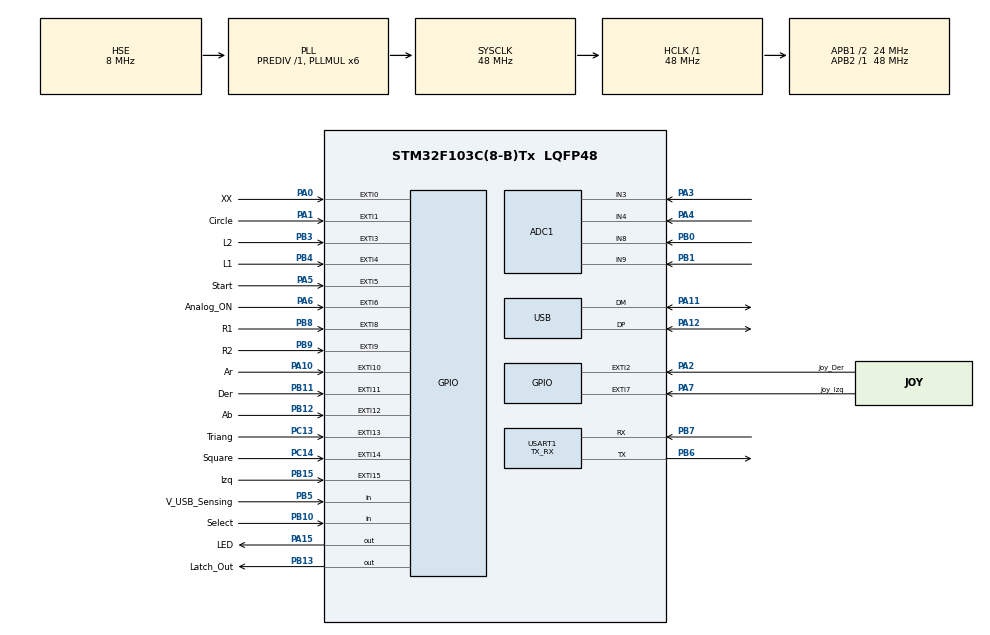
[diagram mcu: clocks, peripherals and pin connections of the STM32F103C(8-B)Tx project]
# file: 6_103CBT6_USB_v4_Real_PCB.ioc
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ADC1.Channel-0\#ChannelRegularConversion=ADC_CHANNEL_3
ADC1.Channel-1\#ChannelRegularConversion=ADC_CHANNEL_4
ADC1.Channel-2\#ChannelRegularConversion=ADC_CHANNEL_8
ADC1.Channel-3\#ChannelRegularConversion=ADC_CHANNEL_9
ADC1.ExternalTrigConv=ADC_EXTERNALTRIGCONV_T3_TRGO
ADC1.NbrOfConversion=4
ADC1.NbrOfConversionFlag=1
ADC1.Rank-0\#ChannelRegularConversion=1
ADC1.Rank-1\#ChannelRegularConversion=2
ADC1.Rank-2\#ChannelRegularConversion=3
ADC1.Rank-3\#ChannelRegularConversion=4
ADC1.SamplingTime-0\#ChannelRegularConversion=ADC_SAMPLETIME_7CYCLES_5
ADC1.SamplingTime-1\#ChannelRegularConversion=ADC_SAMPLETIME_7CYCLES_5
ADC1.SamplingTime-2\#ChannelRegularConversion=ADC_SAMPLETIME_7CYCLES_5
ADC1.SamplingTime-3\#ChannelRegularConversion=ADC_SAMPLETIME_7CYCLES_5
ADC1.master=1
Dma.ADC1.0.Direction=DMA_PERIPH_TO_MEMORY
Dma.ADC1.0.Instance=DMA1_Channel1
Dma.ADC1.0.MemDataAlignment=DMA_MDATAALIGN_HALFWORD
Dma.ADC1.0.MemInc=DMA_MINC_ENABLE
Dma.ADC1.0.Mode=DMA_CIRCULAR
Dma.ADC1.0.PeriphDataAlignment=DMA_PDATAALIGN_HALFWORD
Dma.ADC1.0.PeriphInc=DMA_PINC_DISABLE
Dma.ADC1.0.Priority=DMA_PRIORITY_LOW
Dma.Request0=ADC1
Dma.Request1=USART1_RX
Dma.Request2=USART1_TX
Dma.USART1_RX.1.Direction=DMA_PERIPH_TO_MEMORY
Dma.USART1_RX.1.Instance=DMA1_Channel5
Dma.USART1_RX.1.MemDataAlignment=DMA_MDATAALIGN_BYTE
Dma.USART1_RX.1.MemInc=DMA_MINC_ENABLE
Dma.USART1_RX.1.Mode=DMA_CIRCULAR
Dma.USART1_RX.1.PeriphDataAlignment=DMA_PDATAALIGN_BYTE
Dma.USART1_RX.1.PeriphInc=DMA_PINC_DISABLE
Dma.USART1_RX.1.Priority=DMA_PRIORITY_LOW
Dma.USART1_TX.2.Direction=DMA_MEMORY_TO_PERIPH
Dma.USART1_TX.2.Instance=DMA1_Channel4
Dma.USART1_TX.2.MemDataAlignment=DMA_MDATAALIGN_BYTE
Dma.USART1_TX.2.MemInc=DMA_MINC_ENABLE
Dma.USART1_TX.2.Mode=DMA_NORMAL
Dma.USART1_TX.2.PeriphDataAlignment=DMA_PDATAALIGN_BYTE
Dma.USART1_TX.2.PeriphInc=DMA_PINC_DISABLE
Dma.USART1_TX.2.Priority=DMA_PRIORITY_LOW
Mcu.Family=STM32F1
Mcu.Name=STM32F103C(8-B)Tx
Mcu.Package=LQFP48
NVIC.ADC1_2_IRQn=true\:0\:0\:false\:false\:true\:true\:true\:true
NVIC.DMA1_Channel1_IRQn=true\:0\:0\:false\:false\:true\:false\:true\:true
NVIC.DMA1_Channel4_IRQn=true\:0\:0\:false\:false\:true\:false\:true\:true
NVIC.DMA1_Channel5_IRQn=true\:0\:0\:false\:false\:true\:false\:true\:true
NVIC.EXTI0_IRQn=true\:0\:0\:false\:false\:true\:true\:true\:true
NVIC.EXTI15_10_IRQn=true\:0\:0\:false\:false\:true\:true\:true\:true
NVIC.EXTI1_IRQn=true\:0\:0\:false\:false\:true\:true\:true\:true
NVIC.EXTI2_IRQn=true\:0\:0\:false\:false\:true\:true\:true\:true
NVIC.EXTI3_IRQn=true\:0\:0\:false\:false\:true\:true\:true\:true
NVIC.EXTI4_IRQn=true\:0\:0\:false\:false\:true\:true\:true\:true
NVIC.EXTI9_5_IRQn=true\:0\:0\:false\:false\:true\:true\:true\:true
NVIC.PriorityGroup=NVIC_PRIORITYGROUP_4
NVIC.TIM1_UP_IRQn=true\:0\:0\:false\:false\:true\:true\:true\:true
NVIC.TIM2_IRQn=true\:0\:0\:false\:false\:true\:true\:true\:true
NVIC.TIM4_IRQn=true\:0\:0\:false\:false\:true\:true\:true\:true
NVIC.USB_LP_CAN1_RX0_IRQn=true\:0\:0\:false\:false\:true\:false\:true\:true
PA0-WKUP.GPIO_Label=XX
PA0-WKUP.GPIO_ModeDefaultEXTI=GPIO_MODE_IT_RISING_FALLING
PA0-WKUP.GPIO_PuPd=GPIO_PULLUP
PA0-WKUP.Signal=GPXTI0
PA1.GPIO_Label=Circle
PA1.GPIO_ModeDefaultEXTI=GPIO_MODE_IT_RISING_FALLING
PA1.GPIO_PuPd=GPIO_PULLUP
PA1.Signal=GPXTI1
PA10.GPIO_Label=Ar
PA10.GPIO_ModeDefaultEXTI=GPIO_MODE_IT_RISING_FALLING
PA10.GPIO_PuPd=GPIO_PULLUP
PA10.Signal=GPXTI10
PA11.Mode=Device
PA11.Signal=USB_DM
PA12.Mode=Device
PA12.Signal=USB_DP
PA15.GPIO_Label=LED
PA15.Signal=GPIO_Output
PA2.GPIO_Label=Joy_Der
PA2.GPIO_ModeDefaultEXTI=GPIO_MODE_IT_RISING_FALLING
PA2.GPIO_PuPd=GPIO_PULLUP
PA2.Signal=GPXTI2
PA3.Signal=ADCx_IN3
PA4.Signal=ADCx_IN4
PA5.GPIO_Label=Start
PA5.GPIO_ModeDefaultEXTI=GPIO_MODE_IT_RISING_FALLING
PA5.GPIO_PuPd=GPIO_PULLUP
PA5.Signal=GPXTI5
PA6.GPIO_Label=Analog_ON
PA6.GPIO_ModeDefaultEXTI=GPIO_MODE_IT_RISING_FALLING
PA6.GPIO_PuPd=GPIO_PULLUP
PA6.Signal=GPXTI6
PA7.GPIO_Label=Joy_Izq
PA7.GPIO_ModeDefaultEXTI=GPIO_MODE_IT_RISING_FALLING
PA7.GPIO_PuPd=GPIO_PULLUP
PA7.Signal=GPXTI7
PB0.Signal=ADCx_IN8
PB1.Signal=ADCx_IN9
PB10.GPIO_Label=Select
PB10.GPIO_PuPd=GPIO_PULLUP
PB10.Signal=GPIO_Input
PB11.GPIO_Label=Der
PB11.GPIO_ModeDefaultEXTI=GPIO_MODE_IT_RISING_FALLING
PB11.GPIO_PuPd=GPIO_PULLUP
PB11.Signal=GPXTI11
PB12.GPIO_Label=Ab
PB12.GPIO_ModeDefaultEXTI=GPIO_MODE_IT_RISING_FALLING
PB12.GPIO_PuPd=GPIO_PULLUP
PB12.Signal=GPXTI12
PB13.GPIO_Label=Latch_Out
PB13.Signal=GPIO_Output
PB15.GPIO_Label=Izq
PB15.GPIO_ModeDefaultEXTI=GPIO_MODE_IT_RISING_FALLING
PB15.GPIO_PuPd=GPIO_PULLUP
PB15.Signal=GPXTI15
PB3.GPIO_Label=L2
PB3.GPIO_ModeDefaultEXTI=GPIO_MODE_IT_RISING_FALLING
PB3.GPIO_PuPd=GPIO_PULLUP
PB3.Signal=GPXTI3
PB4.GPIO_Label=L1
PB4.GPIO_ModeDefaultEXTI=GPIO_MODE_IT_RISING_FALLING
PB4.GPIO_PuPd=GPIO_PULLUP
PB4.Signal=GPXTI4
PB5.GPIO_Label=V_USB_Sensing
PB5.GPIO_PuPd=GPIO_PULLUP
PB5.Signal=GPIO_Input
PB6.Mode=Asynchronous
PB6.Signal=USART1_TX
PB7.Mode=Asynchronous
PB7.Signal=USART1_RX
PB8.GPIO_Label=R1
PB8.GPIO_ModeDefaultEXTI=GPIO_MODE_IT_RISING_FALLING
PB8.GPIO_PuPd=GPIO_PULLUP
PB8.Signal=GPXTI8
PB9.GPIO_Label=R2
PB9.GPIO_ModeDefaultEXTI=GPIO_MODE_IT_RISING_FALLING
PB9.GPIO_PuPd=GPIO_PULLUP
PB9.Signal=GPXTI9
PC13-TAMPER-RTC.GPIO_Label=Triang
PC13-TAMPER-RTC.GPIO_ModeDefaultEXTI=GPIO_MODE_IT_RISING_FALLING
PC13-TAMPER-RTC.GPIO_PuPd=GPIO_PULLUP
PC13-TAMPER-RTC.Signal=GPXTI13
PC14-OSC32_IN.GPIO_Label=Square
PC14-OSC32_IN.GPIO_ModeDefaultEXTI=GPIO_MODE_IT_RISING_FALLING
PC14-OSC32_IN.GPIO_PuPd=GPIO_PULLUP
PC14-OSC32_IN.Signal=GPXTI14
PD0-OSC_IN.Mode=HSE-External-Oscillator
PD0-OSC_IN.Signal=RCC_OSC_IN
PD1-OSC_OUT.Mode=HSE-External-Oscillator
PD1-OSC_OUT.Signal=RCC_OSC_OUT
ProjectManager.HeapSize=0x200
ProjectManager.StackSize=0x400
ProjectManager.TargetToolchain=STM32CubeIDE
RCC.ADCPresc=RCC_ADCPCLK2_DIV4
RCC.AHBFreq_Value=48000000
RCC.APB1CLKDivider=RCC_HCLK_DIV2
RCC.APB1Freq_Value=24000000
RCC.APB1TimFreq_Value=48000000
RCC.APB2Freq_Value=48000000
RCC.APB2TimFreq_Value=48000000
RCC.HCLKFreq_Value=48000000
RCC.PLLMUL=RCC_PLL_MUL6
RCC.SYSCLKFreq_VALUE=48000000
RCC.SYSCLKSource=RCC_SYSCLKSOURCE_PLLCLK
RCC.USBFreq_Value=48000000
SH.ADCx_IN3.0=ADC1_IN3,IN3
SH.ADCx_IN4.0=ADC1_IN4,IN4
SH.ADCx_IN8.0=ADC1_IN8,IN8
SH.ADCx_IN9.0=ADC1_IN9,IN9
TIM1.Period=1000
TIM1.Prescaler=48-1
TIM2.Period=100
TIM2.Prescaler=4800
TIM3.Period=50
TIM3.Prescaler=4800-1
TIM3.TIM_MasterOutputTrigger=TIM_TRGO_UPDATE
TIM4.Period=65
TIM4.Prescaler=48000-1
USART1.Mode=MODE_TX_RX
USART1.VirtualMode=VM_ASYNC
USB_DEVICE.CLASS_NAME_FS=HID
USB_DEVICE.MANUFACTURER_STRING=JIB Industries
USB_DEVICE.PRODUCT_STRING_HID_FS=JIB Real Joystick
USB_DEVICE.VirtualMode=Hid
USB_DEVICE.VirtualModeFS=Hid_FS
VP_SYS_VS_ND.Mode=No_Debug
VP_TIM1_VS_ClockSourceINT.Mode=Internal
VP_TIM2_VS_ClockSourceINT.Mode=Internal
VP_TIM3_VS_ClockSourceINT.Mode=Internal
VP_TIM4_VS_ClockSourceINT.Mode=Internal
VP_USB_DEVICE_VS_USB_DEVICE_HID_FS.Mode=HID_FS
board=custom

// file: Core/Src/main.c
/* USER CODE BEGIN Header */
/**
  ******************************************************************************
  * @file           : main.c
  * @brief          : Main program body
  ******************************************************************************
  * @attention
  *
  * Copyright (c) 2026 STMicroelectronics.
  * All rights reserved.
  *
  * This software is licensed under terms that can be found in the LICENSE file
  * in the root directory of this software component.
  * If no LICENSE file comes with this software, it is provided AS-IS.
  *
  ******************************************************************************
  */
/* USER CODE END Header */
#include "main.h"
#include "usb_device.h"

/* USER CODE BEGIN Includes */

// #include <stdio.h>
#include <string.h>
#include "usbd_hid.h"

/* USER CODE END Includes */

/* USER CODE BEGIN PTD */

typedef union {
    struct __attribute__((packed)) {
        uint8_t square     :1;
        uint8_t x          :1;
        uint8_t o          :1;
        uint8_t triangle   :1;
        uint8_t L1         :1;
        uint8_t R1         :1;
        uint8_t L2         :1;
        uint8_t R2         :1;

        uint8_t select     :1;
        uint8_t start      :1;
        uint8_t L3         :1;
        uint8_t R3         :1;
        uint8_t home       :1; // este lo usaré de Analog_ON
        uint8_t            :3;

        uint8_t hat_switch :4;
        uint8_t            :4;

        uint16_t X;
        uint16_t Y;
        uint16_t Z;
        uint16_t Rz;
    };
    uint8_t val[11];
} Joystick_Report;

/* USER CODE END PTD */

/* USER CODE BEGIN PD */

#define ADC_NUM_CHANNELS 4

#define HAT_SWITCH_AR       0x0
#define HAT_SWITCH_AR_DER	0x1
#define HAT_SWITCH_DER      0x2
#define HAT_SWITCH_AB_DER 	0x3
#define HAT_SWITCH_AB       0x4
#define HAT_SWITCH_AB_IZQ 	0x5
#define HAT_SWITCH_IZQ 		0x6
#define HAT_SWITCH_AR_IZQ 	0x7
#define HAT_SWITCH_NULL     0x8

#define DEBUG_1 0

// #define CANT_BOTONES 11 // Medidos en la STM
#define CANT_BOTONES 18 // Medidos en la STM
#define CANT_BOTONES_TOTALES 18
#define DEBOUNCE_TIME_MS 10

#define BUFFER_SIZE_RX 20 // > al necesario por las dudas
#define REPORT_BUFFER_SIZE 11 // tamaño del Report struct
// #define RX_SIZE 8 // Recibo 6 botones (uso 1 byte por bit por facilidad) + el ID
#define RX_SIZE 3 // Recibo 7 botones (en 1 byte) + el ID
#define TX_SIZE 13 // envio el struct + ID

/* USER CODE END PD */

ADC_HandleTypeDef hadc1;
DMA_HandleTypeDef hdma_adc1;

TIM_HandleTypeDef htim1;
TIM_HandleTypeDef htim2;
TIM_HandleTypeDef htim3;
TIM_HandleTypeDef htim4;

UART_HandleTypeDef huart1;
DMA_HandleTypeDef hdma_usart1_rx;
DMA_HandleTypeDef hdma_usart1_tx;

/* USER CODE BEGIN PV */

extern USBD_HandleTypeDef hUsbDeviceFS;

volatile uint16_t ADC_Buffer[ADC_NUM_CHANNELS] = {0};
// volatile uint32_t Flag_ADC = 0;
volatile uint32_t Flag_TIM1 = 0;
volatile uint32_t Flag_TIM2 = 0;
volatile uint32_t Flag_TIM4 = 0;
volatile uint32_t Flag_Analog_State = 0;
// volatile uint32_t Flag_Rx = 0;
volatile uint32_t Flag_ESP_Buttons = 0;
volatile uint32_t Flag_ESP_Sent_Report = 0;

Joystick_Report Joystick_Report_Struct;

uint32_t dt, t1 = 0, dt2, t2 = 0;

// los inicializo en la main()
volatile uint32_t button_last_time[CANT_BOTONES_TOTALES];
volatile uint8_t button_state[CANT_BOTONES_TOTALES];
volatile uint8_t button_debounced[CANT_BOTONES_TOTALES];

uint32_t USB_State;

// Pines de botones (ajusta según tu configuración)
const uint16_t BUTTON_PINS[CANT_BOTONES] = {
	// Action PAD
    Triang_Pin,
    Square_Pin,
    XX_Pin,
    Circle_Pin,

	// D-PAD
	Izq_Pin,
	Ar_Pin,
	Ab_Pin,
	Der_Pin,

	// Analogs SW
	Joy_Izq_Pin,
	Joy_Der_Pin,

	// Medium PAD
	V_USB_Sensing_Pin,
	Analog_ON_Pin, // Analog_ON_Pin

	// Triggers
    L1_Pin,
    R1_Pin,
    L2_Pin,
    R2_Pin,
    // L3_Pin,
    // R3_Pin,

	// Rest of Medium PAD
	Select_Pin,
	Start_Pin,

};
// Analog L1 RI1 L2 R2 Select Start

GPIO_TypeDef* BUTTON_PORTS[CANT_BOTONES] = {
	// Action PAD
    Triang_GPIO_Port,
    Square_GPIO_Port,
    XX_GPIO_Port,
    Circle_GPIO_Port,
	// D-PAD
	Izq_GPIO_Port, 	// 4
	Ar_GPIO_Port,	// 5
	Ab_GPIO_Port,	// 6
	Der_GPIO_Port,	// 7
	// Analogs SW
	Joy_Izq_GPIO_Port, // 8
	Joy_Der_GPIO_Port, // 9
	// Medium PAD
	V_USB_Sensing_GPIO_Port, // 10
	Analog_ON_GPIO_Port, // 11

	// Triggers
    L1_GPIO_Port, // 12
    R1_GPIO_Port, // 13
    L2_GPIO_Port, // 14
    R2_GPIO_Port, // 15

	Select_GPIO_Port, // 16
	Start_GPIO_Port, // 17
};

typedef enum {
    TRIANG = 0,        // EXTI 11
    SQUARE = 1,        // EXTI 10
    XX = 2,            // EXTI 12
    CIRCLE = 3,        // EXTI 13
    IZQ = 4,           // EXTI 6
    AR = 5,            // EXTI 7
    AB = 6,            // EXTI 0
    DER = 7,           // EXTI 1
    JOY_IZQ = 8,       // EXTI 2
    JOY_DER = 9,       // EXTI 5
    V_USB_SENSING = 10,// GPIO Input
    ANALOG_ON = 11,    // EXTI 4
    L1 = 12,           // EXTI 8
    R1 = 13,           // EXTI 15
    L2 = 14,           // EXTI 9
    R2 = 15,           // EXTI 14
    SELECT = 16,       // GPIO Input
    START = 17         // EXTI 3
} Button_t;

// uint32_t Flag_ADC = 0;

// const uint8_t USB_ID = 0x55;
// const uint8_t Buttons_ID[2] = {0x55, 0x55};
const uint8_t BT_ID[2] = {0xAA, 0xAA};
// uint8_t COM_ID; // Toma el valor del ID según la alimentación

uint8_t buffer_Rx[BUFFER_SIZE_RX];
uint8_t Rx;
uint32_t pos_Rx = 0;

volatile uint32_t Analog_last = 0; // Para detemrinar si se está con analógicos ON u OFF

uint32_t to = 0;
uint32_t Flag_Latch_In = 0;
uint32_t cont_to = 0;

/* USER CODE END PV */

void SystemClock_Config(void);
static void MX_GPIO_Init(void);
static void MX_DMA_Init(void);
static void MX_ADC1_Init(void);
static void MX_TIM3_Init(void);
static void MX_USART1_UART_Init(void);
static void MX_TIM1_Init(void);
static void MX_TIM2_Init(void);
static void MX_TIM4_Init(void);

/* USER CODE BEGIN 0 */

void HAL_GPIO_EXTI_Callback(uint16_t GPIO_Pin) {

	/*
	if (GPIO_Pin == V_USB_Sensing_Pin)
		USB_State = HAL_GPIO_ReadPin(V_USB_Sensing_GPIO_Port, V_USB_Sensing_Pin);
*/

	uint32_t i;
	for (i = 0; i < CANT_BOTONES; i++) {
		if (GPIO_Pin == BUTTON_PINS[i]) {
			button_last_time[i] = HAL_GetTick();
			button_state[i] = HAL_GPIO_ReadPin(BUTTON_PORTS[i], BUTTON_PINS[i]);
		}

		/*
		if(GPIO_Pin == Circle_Pin)
			HAL_GPIO_TogglePin(LED_GPIO_Port, LED_Pin);
		*/
	}
}

void handle_button_press(uint8_t button_id, uint8_t state) {
	static uint32_t par = 0;

    switch(button_id) {
        case TRIANG: // Acción para botón 0
        	Joystick_Report_Struct.triangle = state;
            break;
        case SQUARE: // Acción para botón 1
        	Joystick_Report_Struct.square = state;
            break;
        case XX:
			Joystick_Report_Struct.x = state;
			break;
        case CIRCLE:
			Joystick_Report_Struct.o = state;
			break;
        // D-PAD
        case IZQ:
        case AR:
        case AB:
        case DER:
        	uint8_t left  = !button_debounced[IZQ];
        	uint8_t up    = !button_debounced[AR];
            uint8_t down  = !button_debounced[AB];
            uint8_t right = !button_debounced[DER];

            // Detección de diagonales primero (para prioridad)
            if (up && left)
            	Joystick_Report_Struct.hat_switch = HAT_SWITCH_AR_IZQ;
            else if (up && right)
            	Joystick_Report_Struct.hat_switch = HAT_SWITCH_AR_DER;
            else if (down && left)
            	Joystick_Report_Struct.hat_switch = HAT_SWITCH_AB_IZQ;
            else if (down && right)
            	Joystick_Report_Struct.hat_switch = HAT_SWITCH_AB_DER;

            else if (left && right){
            	if(button_last_time[4] > button_last_time[7]) // izq se presionó despues
            		Joystick_Report_Struct.hat_switch = HAT_SWITCH_IZQ;
            	else
            		Joystick_Report_Struct.hat_switch = HAT_SWITCH_DER;
            }
            else if (up && down){
            	if(button_last_time[5] > button_last_time[6]) // ar se presionó despues
            		Joystick_Report_Struct.hat_switch = HAT_SWITCH_AR;
            	else
            		Joystick_Report_Struct.hat_switch = HAT_SWITCH_AB;
            }

            else if (up)
				Joystick_Report_Struct.hat_switch = HAT_SWITCH_AR;
			else if (down)
				Joystick_Report_Struct.hat_switch = HAT_SWITCH_AB;
			else if (left)
				Joystick_Report_Struct.hat_switch = HAT_SWITCH_IZQ;
			else if (right)
				Joystick_Report_Struct.hat_switch = HAT_SWITCH_DER;

			else
				Joystick_Report_Struct.hat_switch = HAT_SWITCH_NULL;
            break;
        case JOY_IZQ:
        	Joystick_Report_Struct.L3 = state;
        	break;
        case JOY_DER:
        	Joystick_Report_Struct.R3 = state;
        	break;
        case V_USB_SENSING:
        	USB_State = !state;
        	// Joystick_Report_Struct.start = state;
        	break;
        case ANALOG_ON:
        	Joystick_Report_Struct.home = state;
        	if(state == 0){
				cont_to = 0;
				Flag_Latch_In = 0;
			}
        	else{
        		Flag_Latch_In = 1;
        	}

        	if(par == 0 || par == 2) {
        		// Flag_Analog_State = 1; // 0 indica que no mando data de los analógicos
        		par = 0;
        		if(Analog_last == 0){ // los analógicos estaban encendidos
        			Analog_last++; // indico que los analógicos se van a apagar (lógica invertida)

        			HAL_ADC_Stop_DMA(&hadc1);
        			HAL_TIM_Base_Stop(&htim3);

        			Joystick_Report_Struct.X = 2048;
        			Joystick_Report_Struct.Y = 2048;

        			Joystick_Report_Struct.Z = 2048;
        			Joystick_Report_Struct.Rz = 2048;

        			// HAL_UART_Receive_DMA(&huart1, &Rx, 1);

        			HAL_TIM_Base_Start_IT(&htim2);
  			  } else {
  				  Analog_last = 0;

  				  HAL_ADC_Start_DMA(&hadc1, (uint32_t *)ADC_Buffer, ADC_NUM_CHANNELS);
  				  HAL_TIM_Base_Start(&htim3);
  				  HAL_TIM_Base_Stop_IT(&htim2);
  			  }
        	}
        	par++;

        	break;
        case L1:
        	Joystick_Report_Struct.L1 = state;
        	break;
        case R1:
        	Joystick_Report_Struct.R1 = state;
			break;
        case L2:
        	Joystick_Report_Struct.L2 = state;
			break;
        case R2:
        	Joystick_Report_Struct.R2 = state;
			break;
        case SELECT:
        	Joystick_Report_Struct.select = state;
			break;
        case START:
        	// USB_State = !state;
        	Joystick_Report_Struct.start = state;
        	break;

    }
}

void HAL_TIM_PeriodElapsedCallback(TIM_HandleTypeDef *htim){
	if(htim->Instance == TIM1){
		Flag_TIM1 = 1;
		/*
		static uint32_t debug = 0;
		debug++;
		if (debug > 100){
			HAL_GPIO_TogglePin(LED_GPIO_Port, LED_Pin);
			debug = 0;
		}
		*/
	}
	if(htim->Instance == TIM2)
		Flag_TIM2 = 1;
	if(htim->Instance == TIM4)
		Flag_TIM4 = 1;
}

void HAL_ADC_ConvCpltCallback(ADC_HandleTypeDef* hadc) {

	if(Analog_last == 0){
		// dt = __HAL_TIM_GET_COUNTER(&htim1) - t1;
		// No vale la pena preguntar que ADC xq solo hay 1

		Joystick_Report_Struct.X = 4095 - ADC_Buffer[3];
		Joystick_Report_Struct.Y = 4095 - ADC_Buffer[2];

		Joystick_Report_Struct.Z = ADC_Buffer[1];
		Joystick_Report_Struct.Rz = 4095 - ADC_Buffer[0];

		// t1 = __HAL_TIM_GET_COUNTER(&htim1);
	}
	// Flag_ADC = 1;
}

void HAL_UART_RxCpltCallback(UART_HandleTypeDef *huart) {

	if(huart == &huart1){

		buffer_Rx[pos_Rx] = Rx;
	  	pos_Rx++;
	  	pos_Rx %= BUFFER_SIZE_RX;

	  	uint32_t pos_aux = (pos_Rx - 2 + BUFFER_SIZE_RX)%BUFFER_SIZE_RX;

	  	// Buttons_ID = 0x5555
	  	/*
	  	if(buffer_Rx[pos_aux] == Buttons_ID[0] && buffer_Rx[pos_aux + 1] == Buttons_ID[1])
	  		Flag_ESP_Buttons = 1;

	  	// BT_ID = 0xAAAA
	  	else if(buffer_Rx[pos_aux] == BT_ID[0] && buffer_Rx[pos_aux + 1] == BT_ID[1])
	  	*/
	  	if(buffer_Rx[pos_aux] == BT_ID[0] && buffer_Rx[pos_aux + 1] == BT_ID[1])
	  		Flag_ESP_Sent_Report = 1;
	}
}

/*
void HAL_UART_TxCpltCallback(UART_HandleTypeDef *huart){
	volatile uint32_t Flag_UART = 1;
}
*/
/*
void HAL_ADC_ConvHalfCpltCallback(ADC_HandleTypeDef* hadc)
{

}
*/

/* USER CODE END 0 */

int main(void)
{

  /* MCU Configuration--------------------------------------------------------*/

  /* Reset of all peripherals, Initializes the Flash interface and the Systick. */
  HAL_Init();

  /* Configure the system clock */
  SystemClock_Config();

  /* Initialize all configured peripherals */
  MX_GPIO_Init();
  MX_DMA_Init();
  MX_ADC1_Init();
  MX_TIM3_Init();
  MX_USART1_UART_Init();
  MX_USB_DEVICE_Init();
  MX_TIM1_Init();
  MX_TIM2_Init();
  MX_TIM4_Init();
  /* USER CODE BEGIN 2 */

/*
  HAL_GPIO_WritePin(Latch_Out_GPIO_Port, Latch_Out_Pin, GPIO_PIN_SET);
  HAL_GPIO_WritePin(LED_GPIO_Port, LED_Pin, GPIO_PIN_SET);
  HAL_GPIO_WritePin(Latch_v2_GPIO_Port, Latch_v2_Pin, GPIO_PIN_SET);
*/
/*
  USB_State = HAL_GPIO_ReadPin(V_USB_Sensing_GPIO_Port, V_USB_Sensing_Pin);

  if(!USB_State){
	  HAL_GPIO_WritePin(LED_GPIO_Port, LED_Pin, GPIO_PIN_SET);
	  HAL_Delay(2000);
  }

  if(USB_State){
	  HAL_GPIO_WritePin(LED_GPIO_Port, LED_Pin, GPIO_PIN_SET);
	  HAL_Delay(4000);
  }
*/

  volatile uint32_t i;
  for(i = 0; i < CANT_BOTONES_TOTALES; i++){
	  button_state[i] = 1;
	  button_debounced[i] = 1;
	  button_last_time[i] = 1;
  }

  // HAL_ADCEx_Calibration_Start(&hadc);
  HAL_ADC_Start_DMA(&hadc1, (uint32_t *)ADC_Buffer, ADC_NUM_CHANNELS);
  HAL_TIM_Base_Start(&htim3);
  Joystick_Report_Struct.hat_switch = HAT_SWITCH_NULL;

  // No necesito que estos arrays sean tan largos, pero facilita el procesamiento en un solo for en vez de en distintos pedazos.
  volatile uint32_t button_now_state[CANT_BOTONES_TOTALES];
  for(i = 0; i < CANT_BOTONES_TOTALES; i++)
	  button_now_state[i] = 1;
  volatile uint32_t button_last_state[CANT_BOTONES_TOTALES];
  for(i = 0; i < CANT_BOTONES_TOTALES; i++)
	  button_last_state[i] = 1;

  uint8_t buffer_Tx[TX_SIZE];

  // uint32_t init_buffer;

  USB_State = !HAL_GPIO_ReadPin(V_USB_Sensing_GPIO_Port, V_USB_Sensing_Pin);
  	  // Lo niego xq el NMOS me habilita el 0 cuando el USB está conectado

  if(USB_State){
	  HAL_TIM_Base_Start_IT(&htim1); // Comanda c/ cuanto enviar datos si la ESP no está involucrada
  }
  if(!USB_State){
	  HAL_UART_Receive_DMA(&huart1, &Rx, 1);
	  HAL_UART_Transmit(&huart1, BT_ID, 2, HAL_MAX_DELAY);
  }

  HAL_TIM_Base_Start_IT(&htim4);

  HAL_Delay(2000);
  HAL_GPIO_WritePin(Latch_Out_GPIO_Port, Latch_Out_Pin, GPIO_PIN_SET);
  HAL_GPIO_WritePin(LED_GPIO_Port, LED_Pin, GPIO_PIN_SET);
  // HAL_GPIO_WritePin(Latch_v2_GPIO_Port, Latch_v2_Pin, GPIO_PIN_SET);

  /*
  HAL_GPIO_WritePin(LED_GPIO_Port, LED_Pin, GPIO_PIN_SET);
  HAL_Delay(500);
  HAL_GPIO_WritePin(LED_GPIO_Port, LED_Pin, GPIO_PIN_RESET);
   */
  // uint32_t debug = 0;

  // HAL_GPIO_WritePin(LED_GPIO_Port, LED_Pin, GPIO_PIN_SET);

  /*
  if(USB_State){
	  COM_ID = USB_ID;
	  // HAL_UART_Transmit(&huart1, (uint8_t *)&COM_ID, 1, HAL_MAX_DELAY);

	  	  // *** Poner la Rx en un vlaor solo y en la interrupción acomodarlo para poder analizarlo
  }
  else{
	  COM_ID = BT_ID;
	  // HAL_UART_Transmit(&huart1, (uint8_t *)&BT_ID, 1, HAL_MAX_DELAY);
  }*/

  // uint8_t tx_data[26] = "Message from STM32 ... \r\n";

  /* USER CODE END 2 */

  /* Infinite loop */
  /* USER CODE BEGIN WHILE */
  while (1)
  {
	  // Si se está usando USB

	  // if(Flag_ADC || Flag_TIM2){ // se envia data con Flag_ADC (Analogs activados) Flag_TIM2 (Analogs desactivados)

		if(Flag_ESP_Buttons || Flag_TIM1){
			  // como recibí detengo contador de tiempo muerto y lo pongo en 0
			Flag_TIM1 = 0;

			HAL_TIM_Base_Stop_IT(&htim4);
			__HAL_TIM_SET_COUNTER(&htim4, 0);

			if(USB_State)
				__HAL_TIM_SET_AUTORELOAD(&htim4, 4);
			else
				__HAL_TIM_SET_AUTORELOAD(&htim4, 65);

			// dt2 = __HAL_TIM_GET_COUNTER(&htim1) - t2;
			// t2 = __HAL_TIM_GET_COUNTER(&htim1);

			Flag_ESP_Buttons = 0;
			// Flag_ADC = 0;
			Flag_TIM2 = 0;

			// ------ Sensado botones que no son EXTI
			// GPIO_Inputs_Update();
			// button_now_state[6] = HAL_GPIO_ReadPin(Ab_GPIO_Port, Ab_Pin);
			// button_now_state[7] = HAL_GPIO_ReadPin(Der_GPIO_Port, Der_Pin);
			// button_now_state[CIRCLE] = HAL_GPIO_ReadPin(Circle_GPIO_Port, Circle_Pin);
			button_now_state[V_USB_SENSING] = HAL_GPIO_ReadPin(V_USB_Sensing_GPIO_Port, V_USB_Sensing_Pin);
			USB_State = !HAL_GPIO_ReadPin(V_USB_Sensing_GPIO_Port, V_USB_Sensing_Pin);
			button_now_state[SELECT] = HAL_GPIO_ReadPin(Select_GPIO_Port, Select_Pin);
			/*
			if(button_now_state[CIRCLE] != button_last_state[CIRCLE]){
				button_last_state[CIRCLE] = button_now_state[CIRCLE];
				button_last_time[CIRCLE] = HAL_GetTick();
				button_state[CIRCLE] = button_now_state[CIRCLE];
			}
			*/
			if(button_now_state[V_USB_SENSING] != button_last_state[V_USB_SENSING]){
				button_last_state[V_USB_SENSING] = button_now_state[V_USB_SENSING];
				button_last_time[V_USB_SENSING] = HAL_GetTick();
				button_state[V_USB_SENSING] = button_now_state[V_USB_SENSING];
			}

			if(button_now_state[SELECT] != button_last_state[SELECT]){
				button_last_state[SELECT] = button_now_state[SELECT];
				button_last_time[SELECT] = HAL_GetTick();
				button_state[SELECT] = button_now_state[SELECT];
			}

			/*
			// Botones: Ab, Der
			for(i = 6; i < 8; i++){
				if(button_now_state[i] != button_last_state[i]){
					button_last_state[i] = button_now_state[i];
					button_last_time[i] = HAL_GetTick();
					button_state[i] = button_now_state[i];
				}
			}
			*/

			//
			/* Este debounce ahora lo hace la ESP siempre
			if(USB_State){
			  // Botones: Analog_ON, L1, R1, L2, R2, Select
				for(i = 11; i < 17; i++){
					if(button_now_state[i] != button_last_state[i]){
						button_last_state[i] = button_now_state[i];
						button_last_time[i] = HAL_GetTick();
						button_state[i] = button_now_state[i];
						// handle_button_press(11, 0); // El parámetro 0 en este caso no va a hacer nada
					}
				}
			}
			*/
			// el debounce de Analog_ON lo tengo que hacer si o si para que funcione
			/*
			if(USB_State){
				// si no le pongo esta condición me sobreescribe el hecho en BT
				init_buffer = (pos_Rx - RX_SIZE + BUFFER_SIZE_RX)%BUFFER_SIZE_RX;

				button_now_state[11] = !( (buffer_Rx[init_buffer] >> 5) & 0b01);
				if(button_now_state[11] != button_last_state[11]){
					button_last_state[11] = button_now_state[11];
					button_last_time[11] = HAL_GetTick();
					button_state[11] = button_now_state[11];
					// handle_button_press(11, 0); // El parámetro 0 en este caso no va a hacer nada
				}
			}
			*/

			  // Armado del Struct_Report
			for (i = 0; i < CANT_BOTONES_TOTALES; i++) {
				if ((HAL_GetTick() - button_last_time[i]) > DEBOUNCE_TIME_MS) { // se preisonó por más de 20 ms

					if (button_state[i] != button_debounced[i]) {
						button_debounced[i] = button_state[i];

						if (button_debounced[i] == GPIO_PIN_RESET) // Botón i válidamente presionado!
							handle_button_press(i, 1);
						else
							handle_button_press(i, 0);
					}
				}
			}

			if(USB_State){
				USBD_HID_SendReport(&hUsbDeviceFS, Joystick_Report_Struct.val, sizeof(Joystick_Report_Struct.val));

				/*
				debug++;
				if(debug > 1000){
					HAL_GPIO_TogglePin(LED_GPIO_Port, LED_Pin);
					debug = 0;
				}
				*/

				// HAL_UART_Transmit(&huart1, Buttons_ID, 2, HAL_MAX_DELAY);
			}
			else{
				for(i = 0; i < REPORT_BUFFER_SIZE; i++)
					buffer_Tx[i + 2] = Joystick_Report_Struct.val[i];

				// BT_ID = 0xAAAA
				buffer_Tx[0] = BT_ID[0]; // COM_ID
				buffer_Tx[1] = BT_ID[1];
				  // memcpy(buffer_Tx, Joystick_Report_Struct.val, sizeof(Joystick_Report_Struct.val));
				HAL_UART_Transmit(&huart1, buffer_Tx, TX_SIZE, HAL_MAX_DELAY);
			}

			HAL_TIM_Base_Start_IT(&htim4);

		}

		// uint32_t cont_aux;
		if(Flag_ESP_Sent_Report){
			Flag_ESP_Sent_Report = 0;

			// ---------------------- DEBUG BEGIN -----------------------------
			/*
            if(cont_aux == 0){
				HAL_GPIO_TogglePin(LED_GPIO_Port, LED_Pin);
			}
            cont_aux++;
            cont_aux %= 100;
            */
            // ---------------------- DEBUG END -----------------------------

			// HAL_UART_Transmit(&huart1, (uint8_t *)&Buttons_ID, 1, HAL_MAX_DELAY);

			// Analogs_ON
			/*
			init_buffer = (pos_Rx - 3 + BUFFER_SIZE_RX)%BUFFER_SIZE_RX;
			button_now_state[ANALO] = !buffer_Rx[init_buffer];
			if(button_now_state[11] != button_last_state[11]){
				button_last_state[11] = button_now_state[11];
				button_last_time[11] = HAL_GetTick();
				button_state[11] = button_now_state[11];
				// handle_button_press(11, 0); // El parámetro 0 en este caso no va a hacer nada
			}
			*/
			// vacio buffer
			for(i = 0; i < BUFFER_SIZE_RX; i++)
				buffer_Rx[i] = 0;

			// doy tiempo a que ESP pueda enviar por BT ya que tarda bastante
			HAL_Delay(50);
			Flag_ESP_Buttons = 1;
			// buffer_Rx[(pos_Rx - 2 + BUFFER_SIZE_RX)%BUFFER_SIZE_RX];
		}

		if(Flag_TIM4){
			Flag_TIM4 = 0;

			if(!USB_State)
				HAL_UART_Transmit(&huart1, BT_ID, 2, HAL_MAX_DELAY);
		}

		if(Flag_Latch_In){
			if(cont_to == 0){
				to = HAL_GetTick();
				cont_to++;
			}
			if((HAL_GetTick() - to ) > 2000){
				HAL_GPIO_WritePin(Latch_Out_GPIO_Port, Latch_Out_Pin, GPIO_PIN_RESET);
				// HAL_GPIO_WritePin(Latch_v2_GPIO_Port, Latch_v2_Pin, GPIO_PIN_RESET);
			}
		}

    /* USER CODE END WHILE */

  }
}

void SystemClock_Config(void)
{
  RCC_OscInitTypeDef RCC_OscInitStruct = {0};
  RCC_ClkInitTypeDef RCC_ClkInitStruct = {0};
  RCC_PeriphCLKInitTypeDef PeriphClkInit = {0};

  /** Initializes the RCC Oscillators according to the specified parameters
  * in the RCC_OscInitTypeDef structure.
  */
  RCC_OscInitStruct.OscillatorType = RCC_OSCILLATORTYPE_HSE;
  RCC_OscInitStruct.HSEState = RCC_HSE_ON;
  RCC_OscInitStruct.HSEPredivValue = RCC_HSE_PREDIV_DIV1;
  RCC_OscInitStruct.HSIState = RCC_HSI_ON;
  RCC_OscInitStruct.PLL.PLLState = RCC_PLL_ON;
  RCC_OscInitStruct.PLL.PLLSource = RCC_PLLSOURCE_HSE;
  RCC_OscInitStruct.PLL.PLLMUL = RCC_PLL_MUL6;
  if (HAL_RCC_OscConfig(&RCC_OscInitStruct) != HAL_OK)
  {
    Error_Handler();
  }

  /** Initializes the CPU, AHB and APB buses clocks
  */
  RCC_ClkInitStruct.ClockType = RCC_CLOCKTYPE_HCLK|RCC_CLOCKTYPE_SYSCLK
                              |RCC_CLOCKTYPE_PCLK1|RCC_CLOCKTYPE_PCLK2;
  RCC_ClkInitStruct.SYSCLKSource = RCC_SYSCLKSOURCE_PLLCLK;
  RCC_ClkInitStruct.AHBCLKDivider = RCC_SYSCLK_DIV1;
  RCC_ClkInitStruct.APB1CLKDivider = RCC_HCLK_DIV2;
  RCC_ClkInitStruct.APB2CLKDivider = RCC_HCLK_DIV1;

  if (HAL_RCC_ClockConfig(&RCC_ClkInitStruct, FLASH_LATENCY_1) != HAL_OK)
  {
    Error_Handler();
  }
  PeriphClkInit.PeriphClockSelection = RCC_PERIPHCLK_ADC|RCC_PERIPHCLK_USB;
  PeriphClkInit.AdcClockSelection = RCC_ADCPCLK2_DIV4;
  PeriphClkInit.UsbClockSelection = RCC_USBCLKSOURCE_PLL;
  if (HAL_RCCEx_PeriphCLKConfig(&PeriphClkInit) != HAL_OK)
  {
    Error_Handler();
  }
}

static void MX_ADC1_Init(void)
{

  ADC_ChannelConfTypeDef sConfig = {0};

  /** Common config
  */
  hadc1.Instance = ADC1;
  hadc1.Init.ScanConvMode = ADC_SCAN_ENABLE;
  hadc1.Init.ContinuousConvMode = DISABLE;
  hadc1.Init.DiscontinuousConvMode = DISABLE;
  hadc1.Init.ExternalTrigConv = ADC_EXTERNALTRIGCONV_T3_TRGO;
  hadc1.Init.DataAlign = ADC_DATAALIGN_RIGHT;
  hadc1.Init.NbrOfConversion = 4;
  if (HAL_ADC_Init(&hadc1) != HAL_OK)
  {
    Error_Handler();
  }

  /** Configure Regular Channel
  */
  sConfig.Channel = ADC_CHANNEL_3;
  sConfig.Rank = ADC_REGULAR_RANK_1;
  sConfig.SamplingTime = ADC_SAMPLETIME_7CYCLES_5;
  if (HAL_ADC_ConfigChannel(&hadc1, &sConfig) != HAL_OK)
  {
    Error_Handler();
  }

  /** Configure Regular Channel
  */
  sConfig.Channel = ADC_CHANNEL_4;
  sConfig.Rank = ADC_REGULAR_RANK_2;
  if (HAL_ADC_ConfigChannel(&hadc1, &sConfig) != HAL_OK)
  {
    Error_Handler();
  }

  /** Configure Regular Channel
  */
  sConfig.Channel = ADC_CHANNEL_8;
  sConfig.Rank = ADC_REGULAR_RANK_3;
  if (HAL_ADC_ConfigChannel(&hadc1, &sConfig) != HAL_OK)
  {
    Error_Handler();
  }

  /** Configure Regular Channel
  */
  sConfig.Channel = ADC_CHANNEL_9;
  sConfig.Rank = ADC_REGULAR_RANK_4;
  if (HAL_ADC_ConfigChannel(&hadc1, &sConfig) != HAL_OK)
  {
    Error_Handler();
  }

}

static void MX_TIM1_Init(void)
{

  TIM_ClockConfigTypeDef sClockSourceConfig = {0};
  TIM_MasterConfigTypeDef sMasterConfig = {0};

  htim1.Instance = TIM1;
  htim1.Init.Prescaler = 48-1;
  htim1.Init.CounterMode = TIM_COUNTERMODE_UP;
  htim1.Init.Period = 1000;
  htim1.Init.ClockDivision = TIM_CLOCKDIVISION_DIV1;
  htim1.Init.RepetitionCounter = 0;
  htim1.Init.AutoReloadPreload = TIM_AUTORELOAD_PRELOAD_DISABLE;
  if (HAL_TIM_Base_Init(&htim1) != HAL_OK)
  {
    Error_Handler();
  }
  sClockSourceConfig.ClockSource = TIM_CLOCKSOURCE_INTERNAL;
  if (HAL_TIM_ConfigClockSource(&htim1, &sClockSourceConfig) != HAL_OK)
  {
    Error_Handler();
  }
  sMasterConfig.MasterOutputTrigger = TIM_TRGO_RESET;
  sMasterConfig.MasterSlaveMode = TIM_MASTERSLAVEMODE_DISABLE;
  if (HAL_TIMEx_MasterConfigSynchronization(&htim1, &sMasterConfig) != HAL_OK)
  {
    Error_Handler();
  }

}

static void MX_TIM2_Init(void)
{

  TIM_ClockConfigTypeDef sClockSourceConfig = {0};
  TIM_MasterConfigTypeDef sMasterConfig = {0};

  htim2.Instance = TIM2;
  htim2.Init.Prescaler = 4800;
  htim2.Init.CounterMode = TIM_COUNTERMODE_UP;
  htim2.Init.Period = 100;
  htim2.Init.ClockDivision = TIM_CLOCKDIVISION_DIV1;
  htim2.Init.AutoReloadPreload = TIM_AUTORELOAD_PRELOAD_DISABLE;
  if (HAL_TIM_Base_Init(&htim2) != HAL_OK)
  {
    Error_Handler();
  }
  sClockSourceConfig.ClockSource = TIM_CLOCKSOURCE_INTERNAL;
  if (HAL_TIM_ConfigClockSource(&htim2, &sClockSourceConfig) != HAL_OK)
  {
    Error_Handler();
  }
  sMasterConfig.MasterOutputTrigger = TIM_TRGO_RESET;
  sMasterConfig.MasterSlaveMode = TIM_MASTERSLAVEMODE_DISABLE;
  if (HAL_TIMEx_MasterConfigSynchronization(&htim2, &sMasterConfig) != HAL_OK)
  {
    Error_Handler();
  }

}

static void MX_TIM3_Init(void)
{

  TIM_ClockConfigTypeDef sClockSourceConfig = {0};
  TIM_MasterConfigTypeDef sMasterConfig = {0};

  htim3.Instance = TIM3;
  htim3.Init.Prescaler = 4800-1;
  htim3.Init.CounterMode = TIM_COUNTERMODE_UP;
  htim3.Init.Period = 50;
  htim3.Init.ClockDivision = TIM_CLOCKDIVISION_DIV1;
  htim3.Init.AutoReloadPreload = TIM_AUTORELOAD_PRELOAD_DISABLE;
  if (HAL_TIM_Base_Init(&htim3) != HAL_OK)
  {
    Error_Handler();
  }
  sClockSourceConfig.ClockSource = TIM_CLOCKSOURCE_INTERNAL;
  if (HAL_TIM_ConfigClockSource(&htim3, &sClockSourceConfig) != HAL_OK)
  {
    Error_Handler();
  }
  sMasterConfig.MasterOutputTrigger = TIM_TRGO_UPDATE;
  sMasterConfig.MasterSlaveMode = TIM_MASTERSLAVEMODE_DISABLE;
  if (HAL_TIMEx_MasterConfigSynchronization(&htim3, &sMasterConfig) != HAL_OK)
  {
    Error_Handler();
  }

}

static void MX_TIM4_Init(void)
{

  TIM_ClockConfigTypeDef sClockSourceConfig = {0};
  TIM_MasterConfigTypeDef sMasterConfig = {0};

  htim4.Instance = TIM4;
  htim4.Init.Prescaler = 48000-1;
  htim4.Init.CounterMode = TIM_COUNTERMODE_UP;
  htim4.Init.Period = 65;
  htim4.Init.ClockDivision = TIM_CLOCKDIVISION_DIV1;
  htim4.Init.AutoReloadPreload = TIM_AUTORELOAD_PRELOAD_DISABLE;
  if (HAL_TIM_Base_Init(&htim4) != HAL_OK)
  {
    Error_Handler();
  }
  sClockSourceConfig.ClockSource = TIM_CLOCKSOURCE_INTERNAL;
  if (HAL_TIM_ConfigClockSource(&htim4, &sClockSourceConfig) != HAL_OK)
  {
    Error_Handler();
  }
  sMasterConfig.MasterOutputTrigger = TIM_TRGO_RESET;
  sMasterConfig.MasterSlaveMode = TIM_MASTERSLAVEMODE_DISABLE;
  if (HAL_TIMEx_MasterConfigSynchronization(&htim4, &sMasterConfig) != HAL_OK)
  {
    Error_Handler();
  }

}

static void MX_USART1_UART_Init(void)
{

  huart1.Instance = USART1;
  huart1.Init.BaudRate = 115200;
  huart1.Init.WordLength = UART_WORDLENGTH_8B;
  huart1.Init.StopBits = UART_STOPBITS_1;
  huart1.Init.Parity = UART_PARITY_NONE;
  huart1.Init.Mode = UART_MODE_TX_RX;
  huart1.Init.HwFlowCtl = UART_HWCONTROL_NONE;
  huart1.Init.OverSampling = UART_OVERSAMPLING_16;
  if (HAL_UART_Init(&huart1) != HAL_OK)
  {
    Error_Handler();
  }

}

static void MX_DMA_Init(void)
{

  /* DMA controller clock enable */
  __HAL_RCC_DMA1_CLK_ENABLE();

  /* DMA interrupt init */
  /* DMA1_Channel1_IRQn interrupt configuration */
  HAL_NVIC_SetPriority(DMA1_Channel1_IRQn, 0, 0);
  HAL_NVIC_EnableIRQ(DMA1_Channel1_IRQn);
  /* DMA1_Channel4_IRQn interrupt configuration */
  HAL_NVIC_SetPriority(DMA1_Channel4_IRQn, 0, 0);
  HAL_NVIC_EnableIRQ(DMA1_Channel4_IRQn);
  /* DMA1_Channel5_IRQn interrupt configuration */
  HAL_NVIC_SetPriority(DMA1_Channel5_IRQn, 0, 0);
  HAL_NVIC_EnableIRQ(DMA1_Channel5_IRQn);

}

static void MX_GPIO_Init(void)
{
  GPIO_InitTypeDef GPIO_InitStruct = {0};

  /* GPIO Ports Clock Enable */
  __HAL_RCC_GPIOC_CLK_ENABLE();
  __HAL_RCC_GPIOD_CLK_ENABLE();
  __HAL_RCC_GPIOA_CLK_ENABLE();
  __HAL_RCC_GPIOB_CLK_ENABLE();

  /*Configure GPIO pin Output Level */
  HAL_GPIO_WritePin(Latch_Out_GPIO_Port, Latch_Out_Pin, GPIO_PIN_RESET);

  /*Configure GPIO pin Output Level */
  HAL_GPIO_WritePin(LED_GPIO_Port, LED_Pin, GPIO_PIN_RESET);

  /*Configure GPIO pins : Triang_Pin Square_Pin */
  GPIO_InitStruct.Pin = Triang_Pin|Square_Pin;
  GPIO_InitStruct.Mode = GPIO_MODE_IT_RISING_FALLING;
  GPIO_InitStruct.Pull = GPIO_PULLUP;
  HAL_GPIO_Init(GPIOC, &GPIO_InitStruct);

  /*Configure GPIO pins : XX_Pin Circle_Pin Joy_Der_Pin Start_Pin
                           Analog_ON_Pin Joy_Izq_Pin Ar_Pin */
  GPIO_InitStruct.Pin = XX_Pin|Circle_Pin|Joy_Der_Pin|Start_Pin
                          |Analog_ON_Pin|Joy_Izq_Pin|Ar_Pin;
  GPIO_InitStruct.Mode = GPIO_MODE_IT_RISING_FALLING;
  GPIO_InitStruct.Pull = GPIO_PULLUP;
  HAL_GPIO_Init(GPIOA, &GPIO_InitStruct);

  /*Configure GPIO pins : Select_Pin V_USB_Sensing_Pin */
  GPIO_InitStruct.Pin = Select_Pin|V_USB_Sensing_Pin;
  GPIO_InitStruct.Mode = GPIO_MODE_INPUT;
  GPIO_InitStruct.Pull = GPIO_PULLUP;
  HAL_GPIO_Init(GPIOB, &GPIO_InitStruct);

  /*Configure GPIO pins : Der_Pin Ab_Pin Izq_Pin L2_Pin
                           L1_Pin R1_Pin R2_Pin */
  GPIO_InitStruct.Pin = Der_Pin|Ab_Pin|Izq_Pin|L2_Pin
                          |L1_Pin|R1_Pin|R2_Pin;
  GPIO_InitStruct.Mode = GPIO_MODE_IT_RISING_FALLING;
  GPIO_InitStruct.Pull = GPIO_PULLUP;
  HAL_GPIO_Init(GPIOB, &GPIO_InitStruct);

  /*Configure GPIO pin : Latch_Out_Pin */
  GPIO_InitStruct.Pin = Latch_Out_Pin;
  GPIO_InitStruct.Mode = GPIO_MODE_OUTPUT_PP;
  GPIO_InitStruct.Pull = GPIO_NOPULL;
  GPIO_InitStruct.Speed = GPIO_SPEED_FREQ_LOW;
  HAL_GPIO_Init(Latch_Out_GPIO_Port, &GPIO_InitStruct);

  /*Configure GPIO pin : LED_Pin */
  GPIO_InitStruct.Pin = LED_Pin;
  GPIO_InitStruct.Mode = GPIO_MODE_OUTPUT_PP;
  GPIO_InitStruct.Pull = GPIO_NOPULL;
  GPIO_InitStruct.Speed = GPIO_SPEED_FREQ_LOW;
  HAL_GPIO_Init(LED_GPIO_Port, &GPIO_InitStruct);

  /* EXTI interrupt init*/
  HAL_NVIC_SetPriority(EXTI0_IRQn, 0, 0);
  HAL_NVIC_EnableIRQ(EXTI0_IRQn);

  HAL_NVIC_SetPriority(EXTI1_IRQn, 0, 0);
  HAL_NVIC_EnableIRQ(EXTI1_IRQn);

  HAL_NVIC_SetPriority(EXTI2_IRQn, 0, 0);
  HAL_NVIC_EnableIRQ(EXTI2_IRQn);

  HAL_NVIC_SetPriority(EXTI3_IRQn, 0, 0);
  HAL_NVIC_EnableIRQ(EXTI3_IRQn);

  HAL_NVIC_SetPriority(EXTI4_IRQn, 0, 0);
  HAL_NVIC_EnableIRQ(EXTI4_IRQn);

  HAL_NVIC_SetPriority(EXTI9_5_IRQn, 0, 0);
  HAL_NVIC_EnableIRQ(EXTI9_5_IRQn);

  HAL_NVIC_SetPriority(EXTI15_10_IRQn, 0, 0);
  HAL_NVIC_EnableIRQ(EXTI15_10_IRQn);

}

void Error_Handler(void)
{
  __disable_irq();
  while (1)
  {
  }
}
